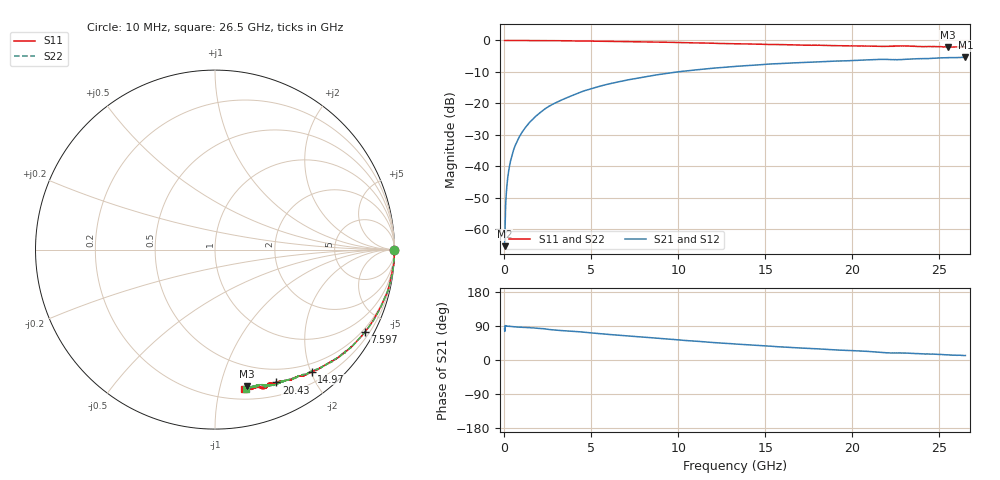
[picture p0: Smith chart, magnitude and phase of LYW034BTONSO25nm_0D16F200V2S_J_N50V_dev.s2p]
!Keysight Technologies,N5222B,MY61253708,A.15.00.15
!Date: Wednesday, June 19, 2024 09:07:08
!Correction: S11(C  2-Port  )
!S21(C  2-Port  )
!S12(C  2-Port  )
!S22(C  2-Port  )
!S2P File: Measurements: S11, S21, S12, S22:
# Hz S  RI  R 50
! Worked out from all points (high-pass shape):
!   2651 points, 10 MHz to 26.5 GHz, reference 50 ohm
!   highest |S21| = -5.31 dB at 26.5 GHz (marker M1); lowest = -65.3 dB at 10 MHz (marker M2)
!   |S21| within 3 dB of the highest: 13.11 GHz to end of sweep
!   lowest |S11| = -2.1 dB at 25.5 GHz (marker M3), VSWR 8.16, Z = 15.5 - j60.8 ohm
!   |S11| at or under -10 dB: nowhere
!   |S22| runs from -2.1 to 0.0 dB; largest |S21 - S12| = 0.0075
!   S11 on the Smith chart (normalised r, x): 10 MHz: open; 7.597 GHz: 0.38, -3.85; 14.97 GHz: 0.37, -2.01; 20.43 GHz: 0.34, -1.51; 26.5 GHz: 0.29, -1.19
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1e7  0.9988 -0.00247  6.83e-05 0.000538  0.000137 0.000352  0.9986 -0.00117
7.997358e7  0.9999 -0.00578  -2.25e-05 0.00281  3.23e-05 0.0028  0.9993 -0.00534
1.599434e8  0.9999 -0.0117  5.47e-05 0.00556  6.35e-05 0.00561  0.9995 -0.0111
2.099245e8  0.9997 -0.0148  0.000116 0.00731  0.000124 0.00734  0.9994 -0.0141
2.699019e8  0.9996 -0.0191  0.000166 0.0094  0.000149 0.00949  0.9998 -0.0183
3.698642e8  0.9996 -0.0265  0.000383 0.0129  0.000324 0.0129  0.9992 -0.0255
4.998151e8  0.999 -0.0351  0.000612 0.0173  0.000636 0.0175  0.9992 -0.0339
8.596792e8  0.9978 -0.0595  0.00177 0.0296  0.00177 0.0298  0.9973 -0.0592
1.469449e9  0.9897 -0.1026  0.00431 0.0509  0.00432 0.0512  0.9925 -0.0988
2.339121e9  0.9798 -0.1575  0.0112 0.0816  0.0114 0.0821  0.9811 -0.158
3.148815e9  0.9678 -0.2109  0.0225 0.1066  0.0227 0.1073  0.9687 -0.2102
4.428332e9  0.9374 -0.2892  0.0423 0.1472  0.0426 0.1481  0.9389 -0.2867
5.827804e9  0.8973 -0.3666  0.0737 0.1844  0.0748 0.1853  0.899 -0.3666
7.597136e9  0.8349 -0.4603  0.1193 0.2213  0.1207 0.222  0.8391 -0.4539
8.846664e9  0.7885 -0.5118  0.1554 0.2416  0.1568 0.2423  0.7897 -0.5107
1.3255e10  0.6068 -0.6473  0.2862 0.2606  0.2883 0.2606  0.6097 -0.6462
1.497435e10  0.5384 -0.6798  0.3311 0.2544  0.3338 0.2531  0.5392 -0.6781
1.767333e10  0.4315 -0.7203  0.3916 0.2271  0.395 0.2259  0.4417 -0.7183
2.043229e10  0.3413 -0.7404  0.4433 0.1963  0.4463 0.1939  0.3564 -0.7423
2.209166e10  0.2977 -0.7472  0.4715 0.1613  0.4731 0.1591  0.2913 -0.7535
2.550038e10  0.1799 -0.7607  0.5181 0.1223  0.5196 0.1234  0.2001 -0.7645
2.65e10  0.1622 -0.7758  0.5312 0.1117  0.5303 0.1087  0.1744 -0.7747
